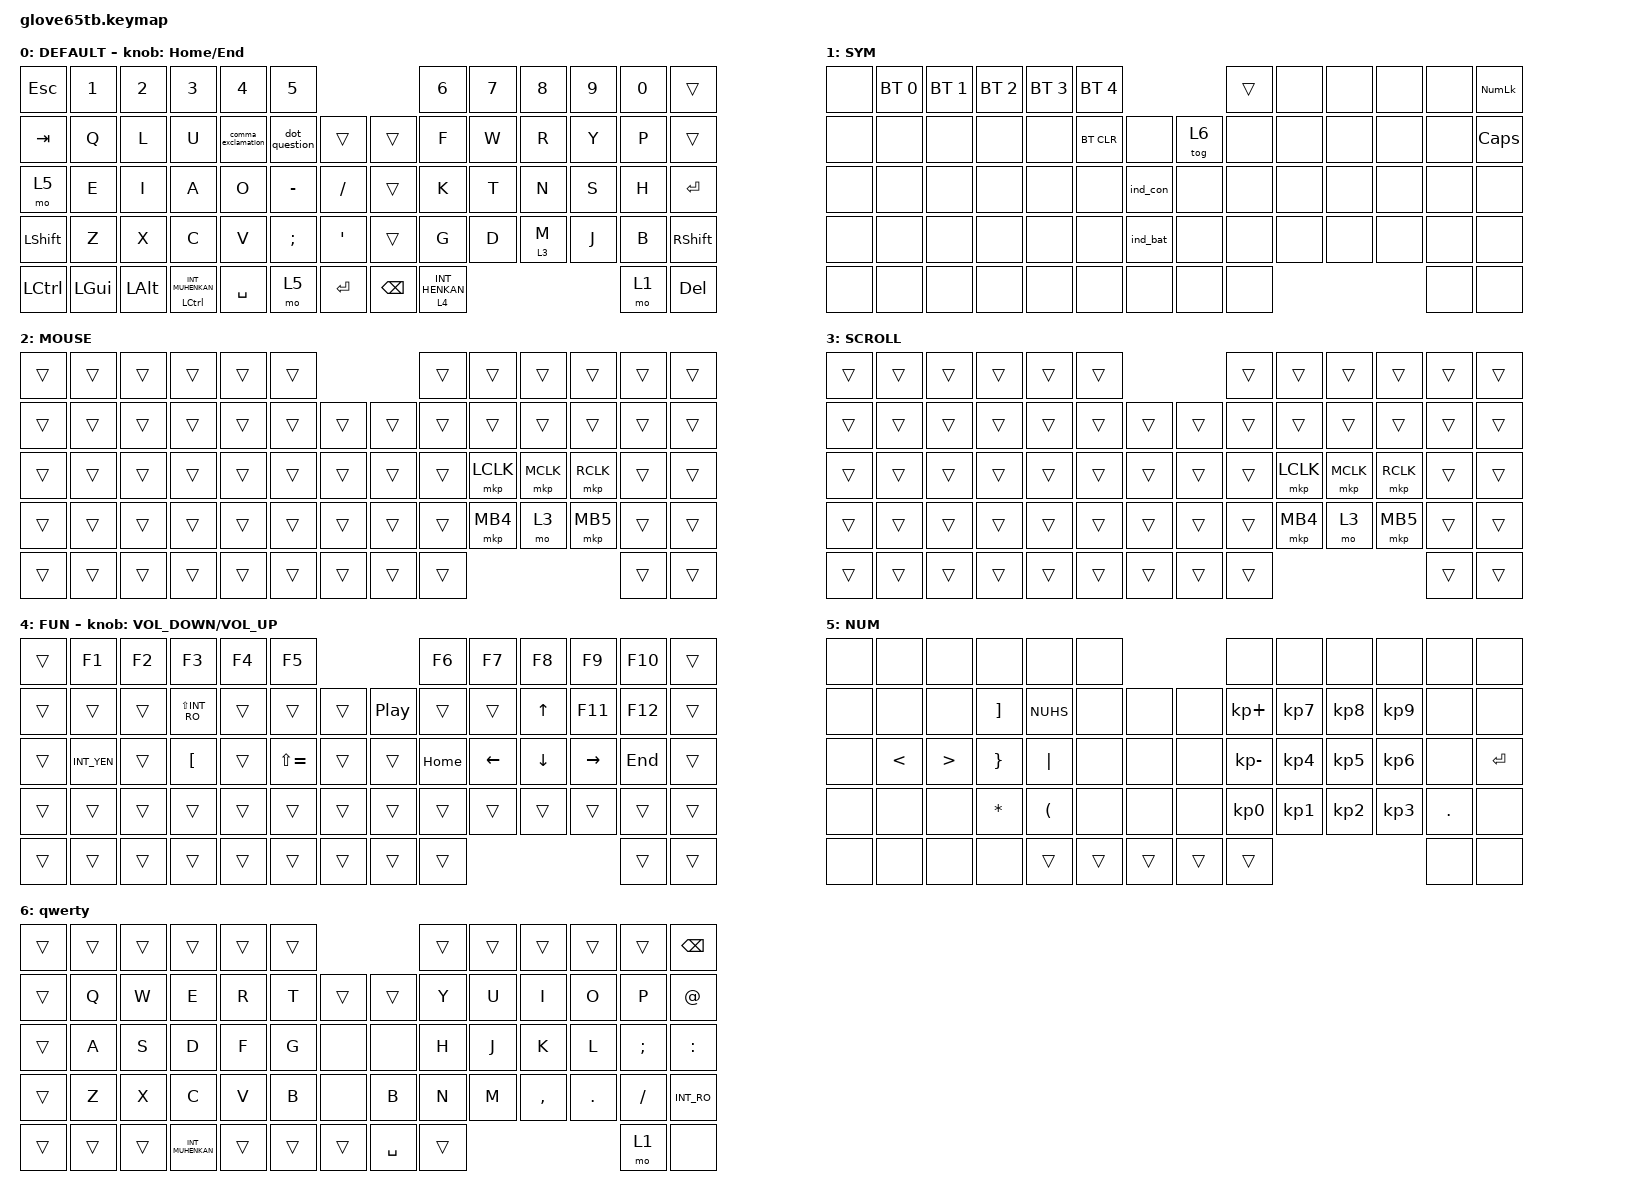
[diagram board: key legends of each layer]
#define ZMK_POINTING_DEFAULT_SCRL_VAL 150

#include <behaviors/rgbled_widget.dtsi>
#include <dt-bindings/zmk/input_transform.h>
#include <input/processors.dtsi>
#include <zephyr/dt-bindings/input/input-event-codes.h>
#include <behaviors.dtsi>
#include <dt-bindings/zmk/bt.h>
#include <dt-bindings/zmk/keys.h>
#include <dt-bindings/zmk/pointing.h>

// Layer Numbering

#define DEFAULT 0
#define NUM     1
#define SYM     2
#define FUN     3
#define MOUSE   4
#define SCROLL  5

&mmv {
    delay-ms = <20>;
    trigger-period-ms = <5>;
    time-to-max-speed-ms = <100>;
    acceleration-exponent = <2>;
};

&msc {
    delay-ms = <3>;
    trigger-period-ms = <3>;
    time-to-max-speed-ms = <100>;
    acceleration-exponent = <0>;
};

/ {
    input_processors {
        zip_wheel_scaler: zip_wheel_scaler {
            compatible = "zmk,input-processor-scaler";
            #input-processor-cells = <2>;
            type = <INPUT_EV_REL>;
            codes = <INPUT_REL_WHEEL>;
            track-remainders;
        };
    };
};

/ {
    combos {
        compatible = "zmk,combos";

        scroll {
            bindings = <&mo 3>;
            key-positions = <49 50>;
        };
    };

    behaviors {
        sensor_rotate_kp: sensor_rotate_kp {
            compatible = "zmk,behavior-sensor-rotate-var";
            #sensor-binding-cells = <2>;
            bindings = <&kp>, <&kp>;
        };

        mouse_wheel_scroll: mouse_wheel_scroll {
            compatible = "zmk,behavior-sensor-rotate-var";
            #sensor-binding-cells = <2>;
            bindings = <&msc>, <&msc>;

            tap-ms = <20>;
        };

        comma_exclamation: comma_exclamation {
            compatible = "zmk,behavior-mod-morph";
            label = "COMMA_EXCLAMATION";
            bindings = <&kp COMMA>, <&kp EXCL>;

            #binding-cells = <0>;
            mods = <(MOD_LSFT|MOD_RSFT)>;
        };

        dot_question: dot_question {
            compatible = "zmk,behavior-mod-morph";
            label = "DOT_QUESTION";
            bindings = <&kp DOT>, <&kp QUESTION>;

            #binding-cells = <0>;
            mods = <(MOD_LSFT|MOD_RSFT)>;
        };
    };

    keymap {
        compatible = "zmk,keymap";

        default_layer {
            label = "DEFAULT";
            bindings = <
&kp ESC         &kp N1        &kp N2        &kp N3                  &kp N4              &kp N5                                          &kp N6            &kp N7  &kp N8   &kp N9  &kp N0  &trans
&kp TAB         &kp Q         &kp L         &kp U                   &comma_exclamation  &dot_question  &trans            &trans         &kp F             &kp W   &kp R    &kp Y   &kp P   &trans
&mo 5           &kp E         &kp I         &kp A                   &kp O               &kp MINUS      &kp SLASH         &trans         &kp K             &kp T   &kp N    &kp S   &kp H   &kp RETURN
&kp LEFT_SHIFT  &kp Z         &kp X         &kp C                   &kp V               &kp SEMICOLON  &kp SINGLE_QUOTE  &trans         &kp G             &kp D   &lt 3 M  &kp J   &kp B   &kp RIGHT_SHIFT
&kp LCTRL       &kp LEFT_GUI  &kp LEFT_ALT  &mt LCTRL INT_MUHENKAN  &kp SPACE           &mo 5          &kp RETURN        &kp BACKSPACE  &lt 4 INT_HENKAN                           &mo 1   &kp DELETE
            >;

            sensor-bindings = <&inc_dec_kp HOME END>;
        };

        symbol_layer {
            label = "SYM";
            bindings = <
&none  &bt BT_SEL 0  &bt BT_SEL 1  &bt BT_SEL 2  &bt BT_SEL 3  &bt BT_SEL 4                    &trans  &none  &none  &none  &none  &kp KP_NUMLOCK
&none  &none         &none         &none         &none         &bt BT_CLR    &none     &tog 6  &none   &none  &none  &none  &none  &kp CAPSLOCK
&none  &none         &none         &none         &none         &none         &ind_con  &none   &none   &none  &none  &none  &none  &none
&none  &none         &none         &none         &none         &none         &ind_bat  &none   &none   &none  &none  &none  &none  &none
&none  &none         &none         &none         &none         &none         &none     &none   &none                        &none  &none
            >;
        };

        mouse_layer {
            label = "MOUSE";
            bindings = <
&trans  &trans  &trans  &trans  &trans  &trans                  &trans  &trans     &trans     &trans     &trans  &trans
&trans  &trans  &trans  &trans  &trans  &trans  &trans  &trans  &trans  &trans     &trans     &trans     &trans  &trans
&trans  &trans  &trans  &trans  &trans  &trans  &trans  &trans  &trans  &mkp LCLK  &mkp MCLK  &mkp RCLK  &trans  &trans
&trans  &trans  &trans  &trans  &trans  &trans  &trans  &trans  &trans  &mkp MB4   &mo 3      &mkp MB5   &trans  &trans
&trans  &trans  &trans  &trans  &trans  &trans  &trans  &trans  &trans                                   &trans  &trans
            >;
        };

        scroll_layer {
            label = "SCROLL";
            bindings = <
&trans  &trans  &trans  &trans  &trans  &trans                  &trans  &trans     &trans     &trans     &trans  &trans
&trans  &trans  &trans  &trans  &trans  &trans  &trans  &trans  &trans  &trans     &trans     &trans     &trans  &trans
&trans  &trans  &trans  &trans  &trans  &trans  &trans  &trans  &trans  &mkp LCLK  &mkp MCLK  &mkp RCLK  &trans  &trans
&trans  &trans  &trans  &trans  &trans  &trans  &trans  &trans  &trans  &mkp MB4   &mo 3      &mkp MB5   &trans  &trans
&trans  &trans  &trans  &trans  &trans  &trans  &trans  &trans  &trans                                   &trans  &trans
            >;
        };

        function_layer {
            label = "FUN";
            bindings = <
&trans  &kp F1       &kp F2  &kp F3          &kp F4  &kp F5                                   &kp F6    &kp F7    &kp F8    &kp F9     &kp F10  &trans
&trans  &trans       &trans  &kp LS(INT_RO)  &trans  &trans         &trans  &kp C_PLAY_PAUSE  &trans    &trans    &kp UP    &kp F11    &kp F12  &trans
&trans  &kp INT_YEN  &trans  &kp LBKT        &trans  &kp LS(EQUAL)  &trans  &trans            &kp HOME  &kp LEFT  &kp DOWN  &kp RIGHT  &kp END  &trans
&trans  &trans       &trans  &trans          &trans  &trans         &trans  &trans            &trans    &trans    &trans    &trans     &trans   &trans
&trans  &trans       &trans  &trans          &trans  &trans         &trans  &trans            &trans                                   &trans   &trans
            >;

            sensor-bindings = <&sensor_rotate_kp C_VOLUME_DOWN C_VOLUME_UP>;
        };

        number_layer {
            label = "NUM";
            bindings = <
&none  &none          &none             &none            &none     &none                   &none            &none            &none            &none            &none    &none
&none  &none          &none             &kp RBKT         &kp NUHS  &none   &none   &none   &kp KP_PLUS      &kp KP_NUMBER_7  &kp KP_NUMBER_8  &kp KP_NUMBER_9  &none    &none
&none  &kp LESS_THAN  &kp GREATER_THAN  &kp RIGHT_BRACE  &kp PIPE  &none   &none   &none   &kp KP_MINUS     &kp KP_NUMBER_4  &kp KP_NUMBER_5  &kp KP_NUMBER_6  &none    &kp RETURN
&none  &none          &none             &kp ASTRK        &kp LPAR  &none   &none   &none   &kp KP_NUMBER_0  &kp KP_NUMBER_1  &kp KP_NUMBER_2  &kp KP_NUMBER_3  &kp DOT  &none
&none  &none          &none             &none            &trans    &trans  &trans  &trans  &trans                                                              &none    &none
            >;
        };

        qwerty {
            bindings = <
&trans  &trans  &trans  &trans            &trans  &trans                     &trans  &trans  &trans     &trans   &trans     &kp BACKSPACE
&trans  &kp Q   &kp W   &kp E             &kp R   &kp T   &trans  &trans     &kp Y   &kp U   &kp I      &kp O    &kp P      &kp AT
&trans  &kp A   &kp S   &kp D             &kp F   &kp G   &none   &none      &kp H   &kp J   &kp K      &kp L    &kp SEMI   &kp COLON
&trans  &kp Z   &kp X   &kp C             &kp V   &kp B   &none   &kp B      &kp N   &kp M   &kp COMMA  &kp DOT  &kp SLASH  &kp INT_RO
&trans  &trans  &trans  &kp INT_MUHENKAN  &trans  &trans  &trans  &kp SPACE  &trans                              &mo 1      &none
            >;
        };
    };
};
